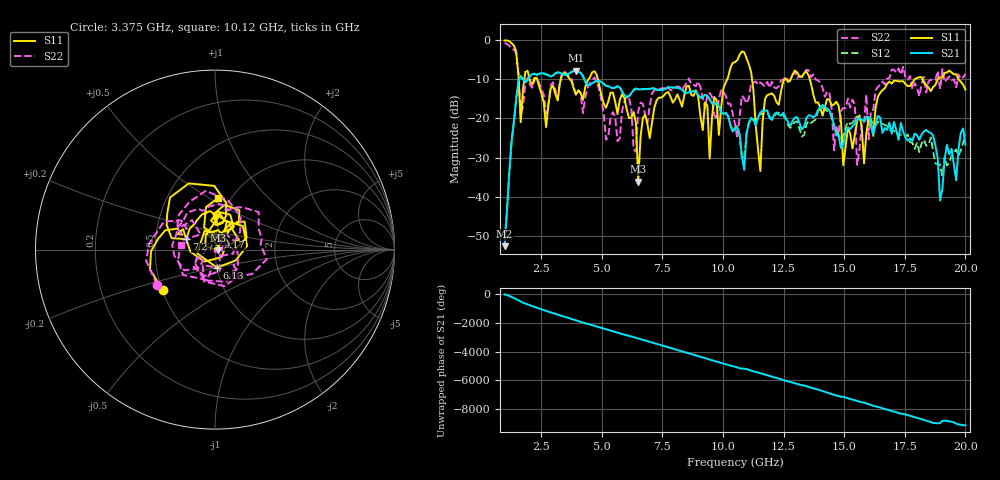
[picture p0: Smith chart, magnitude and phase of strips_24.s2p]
!Agilent Technologies,N5230A,MY45001629,A.07.50.67
!Agilent N5230A: A.07.50.67
!Date: Monday, June 05, 2017 16:35:06
!Correction: S11(Full 2 Port(1,2))
!S21(Full 2 Port(1,2))
!S12(Full 2 Port(1,2))
!S22(Full 2 Port(1,2))
!S2P File: Measurements: S11, S21, S12, S22:
# Hz S  dB  R 50
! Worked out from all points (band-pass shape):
!   201 points, 1 GHz to 20 GHz, reference 50 ohm
!   highest |S21| = -7.93 dB at 3.945 GHz (marker M1); lowest = -52.5 dB at 1 GHz (marker M2)
!   |S21| within 3 dB of the highest: 1.565 GHz to 4.351 GHz (2.787 GHz wide, 94.2 % of centre); 4.656 GHz to 5.02 GHz (363.5 MHz wide, 7.51 % of centre)
!   lowest |S11| = -36.1 dB at 6.51 GHz (marker M3), VSWR 1.03, Z = 51.5 - j0.47 ohm
!   |S11| at or under -10 dB: 4.839 GHz to 10.18 GHz (5.346 GHz wide, 71.2 % of centre); 11.2 GHz to 12.57 GHz (1.367 GHz wide, 11.5 % of centre); 13.58 GHz to 17.93 GHz (4.354 GHz wide, 27.6 % of centre)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
!   |S22| runs from -31.8 to -0.9 dB; largest |S21 - S12| = 0.036
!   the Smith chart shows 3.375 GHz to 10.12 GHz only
!   S11 on the Smith chart (normalised r, x): 3.375 GHz: 0.50, -0.26; 6.13 GHz: 1.00, -0.20; 7.27 GHz: 0.72, +0.09; 9.17 GHz: 1.02, +0.14; 10.12 GHz: 0.88, +0.55
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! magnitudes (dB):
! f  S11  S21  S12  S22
! 1 GHz  -0.2  -52.5  -51.2  -0.9
! 1.57 GHz  -9.0  -10.7  -10.7  -8.7
! 3.375 GHz  -8.7  -8.8  -8.8  -8.4
! 3.945 GHz  -14.0  -7.9  -7.9  -14.2
! 4.23 GHz  -15.3  -9.3  -9.3  -18.7
! 6.13 GHz  -20.0  -14.3  -14.4  -14.8
! 6.51 GHz  -36.1  -12.6  -12.6  -18.2
! 7.27 GHz  -15.4  -12.7  -12.7  -12.4
! 7.365 GHz  -14.7  -12.9  -12.9  -12.7
! 9.17 GHz  -23.0  -14.6  -14.7  -14.8
! 10.12 GHz  -10.9  -18.6  -18.7  -14.3
! 10.5 GHz  -5.7  -22.7  -22.5  -21.5
! 11.16 GHz  -8.2  -19.9  -20.2  -11.0
! 11.54 GHz  -33.4  -18.6  -18.9  -10.9
! 11.83 GHz  -14.1  -18.0  -18.5  -10.7
! 13.73 GHz  -14.0  -19.7  -20.7  -8.8
! 14.59 GHz  -16.4  -21.7  -22.2  -28.1
! 15.35 GHz  -27.7  -22.0  -21.1  -15.3
! 15.54 GHz  -20.8  -20.4  -19.5  -31.8
! 16.86 GHz  -10.7  -21.1  -22.9  -9.8
! 18.95 GHz  -9.6  -40.9  -31.8  -12.6
! 20 GHz  -12.7  -26.7  -24.3  -8.8
